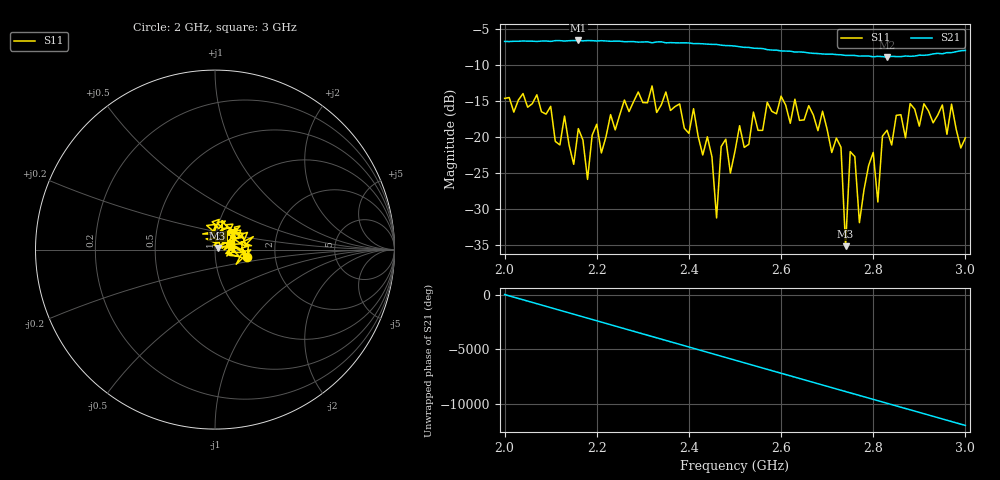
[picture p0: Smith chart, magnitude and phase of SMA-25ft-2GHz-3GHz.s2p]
# HZ S RI R 50
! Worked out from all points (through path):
!   101 points, 2 GHz to 3 GHz, reference 50 ohm
!   highest |S21| = -6.64 dB at 2.16 GHz (marker M1); lowest = -9.0 dB at 2.83 GHz (marker M2)
!   lowest |S11| = -35.2 dB at 2.74 GHz (marker M3), VSWR 1.04, Z = 51.5 + j1 ohm
!   |S11| at or under -10 dB: start of sweep to end of sweep
!   S12 and S22 are empty: the file has one direction only
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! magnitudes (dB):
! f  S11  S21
! 2 GHz  -14.7  -6.8
! 2.15 GHz  -23.8  -6.7
! 2.16 GHz  -18.9  -6.6
! 2.17 GHz  -20.5  -6.7
! 2.18 GHz  -25.9  -6.7
! 2.2 GHz  -18.3  -6.7
! 2.34 GHz  -15.6  -6.8
! 2.44 GHz  -20.0  -7.1
! 2.46 GHz  -31.3  -7.2
! 2.47 GHz  -21.4  -7.3
! 2.5 GHz  -22.0  -7.4
! 2.67 GHz  -17.0  -8.4
! 2.73 GHz  -21.5  -8.6
! 2.74 GHz  -35.2  -8.7
! 2.75 GHz  -22.1  -8.7
! 2.77 GHz  -31.9  -8.8
! 2.8 GHz  -22.2  -8.9
! 2.81 GHz  -29.1  -8.8
! 2.83 GHz  -19.1  -9.0
! 2.84 GHz  -21.1  -8.8
! 2.88 GHz  -15.4  -8.8
! 3 GHz  -20.1  -8.0
